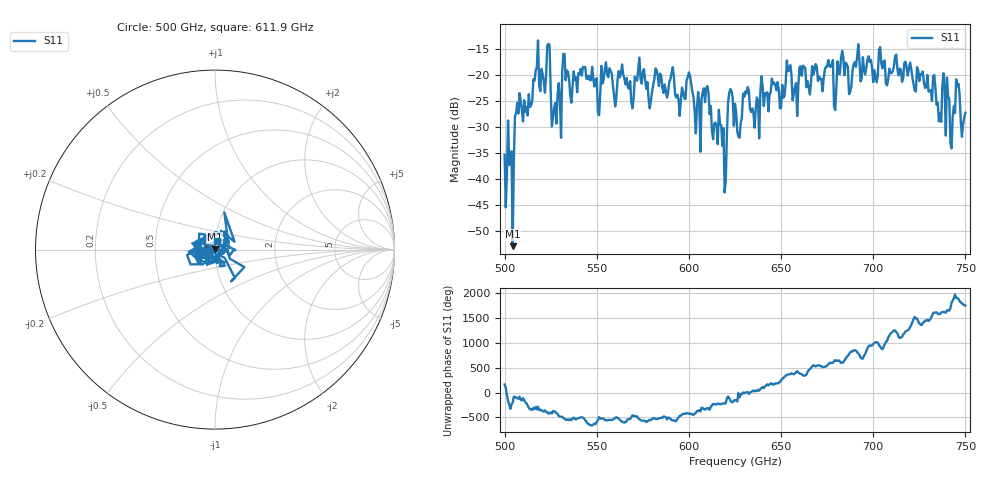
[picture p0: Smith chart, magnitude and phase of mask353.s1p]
!Created with skrf (http://scikit-rf.org).
# GHz S MA R 50.0
!freq magS11 angS11
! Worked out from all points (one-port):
!   401 points, 500 GHz to 750 GHz, reference 50 ohm
!   lowest |S11| = -53.0 dB at 504.4 GHz (marker M1), VSWR 1.00, Z = 49.8 + j0.0877 ohm
!   |S11| at or under -10 dB: start of sweep to end of sweep
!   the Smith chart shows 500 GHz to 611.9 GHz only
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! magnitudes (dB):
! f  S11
! 500 GHz  -35.4
! 504.4 GHz  -53.0
! 506.9 GHz  -25.4
! 513.8 GHz  -26.2
! 516.9 GHz  -19.1
! 523.8 GHz  -14.0
! 526.9 GHz  -26.4
! 531.2 GHz  -19.5
! 562.5 GHz  -20.5
! 579.4 GHz  -24.9
! 590.6 GHz  -19.6
! 593.8 GHz  -23.8
! 600 GHz  -19.5
! 605 GHz  -23.3
! 609.4 GHz  -22.6
! 619.4 GHz  -42.6
! 622.5 GHz  -22.8
! 625 GHz  -25.6
! 656.2 GHz  -24.9
! 676.9 GHz  -18.5
! 680 GHz  -22.4
! 683.8 GHz  -16.6
! 687.5 GHz  -23.3
! 691.2 GHz  -16.7
! 718.8 GHz  -20.1
! 743.1 GHz  -28.0
! 745.6 GHz  -22.2
! 750 GHz  -27.3
